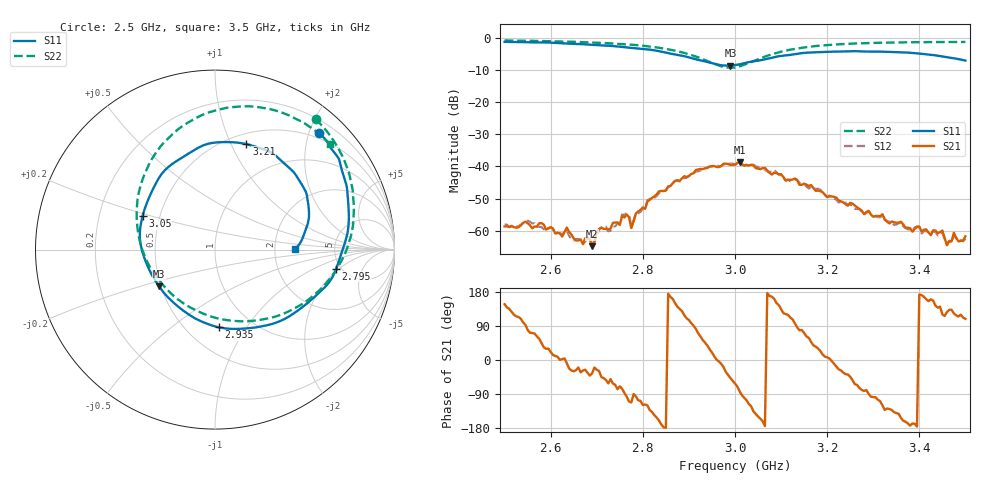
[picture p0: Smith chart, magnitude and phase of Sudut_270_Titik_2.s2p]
# Hz S RI R 50
! CMT, C1220, 16058040, 17.2.0/1
! Date: 15/08/2018 10:52:19
! Data: Format (Calibration Info)
! Freq  S11: Re/Im (F2)  S21: Re/Im (F2)  S12: Re/Im (F2)  S22: Re/Im (F2)
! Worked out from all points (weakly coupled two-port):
!   201 points, 2.5 GHz to 3.5 GHz, reference 50 ohm
!   highest |S21| = -38.69 dB at 3.01 GHz (marker M1); lowest = -64.8 dB at 2.69 GHz (marker M2)
!   lowest |S11| = -8.6 dB at 2.99 GHz (marker M3), VSWR 2.19, Z = 24.4 - j11.7 ohm
!   |S11| at or under -10 dB: nowhere
!   |S22| runs from -9.2 to -0.7 dB; largest |S21 - S12| = 0.00081
!   S11 on the Smith chart (normalised r, x): 2.5 GHz: 0.40, +2.17; 2.795 GHz: 4.56, -1.82; 2.935 GHz: 0.71, -0.75; 3.05 GHz: 0.40, +0.19; 3.21 GHz: 0.61, +1.15; 3.5 GHz: 2.61, +0.01
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2.5e9  0.5805 0.6522  -0.000976 0.000629  -0.00104 0.00071  0.5616 0.7267
2.625e9  0.7128 0.4229  0.000809 3.44e-05  0.000897 3.31e-05  0.6964 0.5468
2.635e9  0.7234 0.39  0.00111 -0.000165  0.000967 -0.000244  0.706 0.5284
2.67e9  0.7382 0.3139  0.000548 -0.000287  0.000524 -0.000316  0.7362 0.4557
2.69e9  0.743 0.25  0.000469 -0.000327  0.000519 -0.000384  0.7505 0.4101
2.705e9  0.7455 0.2039  0.000931 -0.000517  0.000888 -0.000515  0.7595 0.3712
2.765e9  0.7148 0.011  -0.000205 -0.00176  -0.000266 -0.00184  0.7728 0.2003
2.775e9  0.7034 -0.0236  -0.000408 -0.00101  -0.000464 -0.0011  0.7712 0.1656
2.795e9  0.675 -0.1065  -0.000646 -0.002  -0.000631 -0.00186  0.7617 0.0945
2.835e9  0.5769 -0.2432  -0.00383 -0.00142  -0.0036 -0.00143  0.7037 -0.0642
2.935e9  0.0197 -0.4326  0.00652 0.00669  0.00623 0.00696  0.2244 -0.3951
2.99e9  -0.3111 -0.2053  0.00711 -0.00779  0.00761 -0.00808  -0.2127 -0.2734
3e9  -0.3512 -0.1425  0.00497 -0.00943  0.0045 -0.0097  -0.2775 -0.211
3.01e9  -0.3828 -0.074  0.00151 -0.0115  0.0015 -0.011  -0.3331 -0.1429
3.05e9  -0.4039 0.1866  -0.00795 -0.00476  -0.00857 -0.00482  -0.4359 0.1703
3.17e9  0.0237 0.5982  0.00359 0.0029  0.00341 0.00321  -0.0941 0.7392
3.21e9  0.1751 0.5883  0.0034 -0.000164  0.00333 -0.000454  0.0511 0.7868
3.335e9  0.4667 0.3898  -0.000819 -0.001  -0.000957 -0.000998  0.3898 0.7569
3.45e9  0.5052 0.1104  -0.000509 0.000864  -0.000543 0.000771  0.5822 0.6431
3.46e9  0.4958 0.0848  -0.000353 0.000475  -0.000363 0.000489  0.5952 0.6334
3.475e9  0.4814 0.0496  -0.000502 0.000777  -0.000463 0.000714  0.6128 0.616
3.5e9  0.4467 0.00178  -0.000261 0.000772  -0.000207 0.000715  0.6422 0.5862
